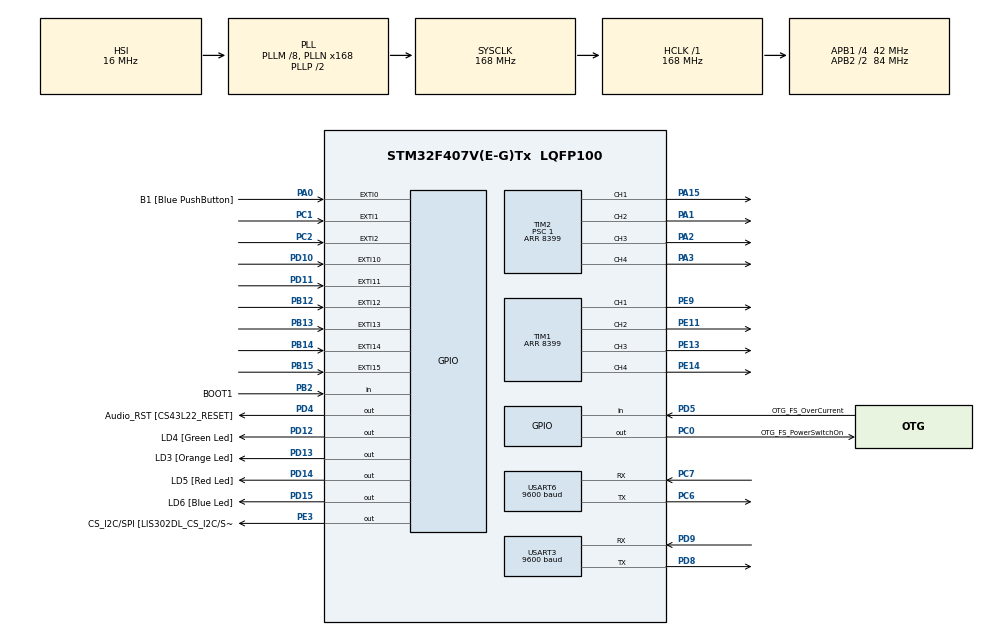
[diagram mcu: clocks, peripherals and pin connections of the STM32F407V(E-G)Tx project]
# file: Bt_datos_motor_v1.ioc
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Mcu.Family=STM32F4
Mcu.Name=STM32F407V(E-G)Tx
Mcu.Package=LQFP100
NVIC.EXTI0_IRQn=true\:0\:0\:false\:false\:true\:true\:true\:true
NVIC.EXTI15_10_IRQn=true\:0\:0\:false\:false\:true\:true\:true\:true
NVIC.EXTI1_IRQn=true\:0\:0\:false\:false\:true\:true\:true\:true
NVIC.EXTI2_IRQn=true\:0\:0\:false\:false\:true\:true\:true\:true
NVIC.PriorityGroup=NVIC_PRIORITYGROUP_0
NVIC.TIM3_IRQn=true\:0\:0\:false\:false\:true\:true\:true\:true
PA0-WKUP.GPIO_Label=B1 [Blue PushButton]
PA0-WKUP.Signal=GPXTI0
PA1.Signal=S_TIM2_CH2
PA10.GPIO_Label=OTG_FS_ID
PA10.GPIO_Mode=GPIO_MODE_AF_PP
PA10.GPIO_PuPd=GPIO_NOPULL
PA10.GPIO_Speed=GPIO_SPEED_FREQ_LOW
PA10.Signal=USB_OTG_FS_ID
PA11.GPIO_Label=OTG_FS_DM
PA11.GPIO_Mode=GPIO_MODE_AF_PP
PA11.GPIO_PuPd=GPIO_NOPULL
PA11.GPIO_Speed=GPIO_SPEED_FREQ_LOW
PA11.Signal=USB_OTG_FS_DM
PA12.GPIO_Label=OTG_FS_DP
PA12.GPIO_Mode=GPIO_MODE_AF_PP
PA12.GPIO_PuPd=GPIO_NOPULL
PA12.GPIO_Speed=GPIO_SPEED_FREQ_LOW
PA12.Signal=USB_OTG_FS_DP
PA13.GPIO_Label=SWDIO
PA13.Signal=SYS_JTMS-SWDIO
PA14.GPIO_Label=SWCLK
PA14.Signal=SYS_JTCK-SWCLK
PA15.Signal=S_TIM2_CH1_ETR
PA2.Signal=S_TIM2_CH3
PA3.Signal=S_TIM2_CH4
PA4.GPIO_Label=I2S3_WS [CS43L22_LRCK]
PA4.GPIO_Mode=GPIO_MODE_AF_PP
PA4.GPIO_PuPd=GPIO_NOPULL
PA4.GPIO_Speed=GPIO_SPEED_FREQ_LOW
PA4.Signal=I2S3_WS
PA5.GPIO_Label=SPI1_SCK [LIS302DL_SCL/SPC]
PA5.GPIO_Mode=GPIO_MODE_AF_PP
PA5.GPIO_PuPd=GPIO_NOPULL
PA5.GPIO_Speed=GPIO_SPEED_FREQ_LOW
PA5.Signal=SPI1_SCK
PA6.GPIO_Label=SPI1_MISO [LIS302DL_SDO]
PA6.GPIO_Mode=GPIO_MODE_AF_PP
PA6.GPIO_PuPd=GPIO_NOPULL
PA6.GPIO_Speed=GPIO_SPEED_FREQ_LOW
PA6.Signal=SPI1_MISO
PA7.GPIO_Label=SPI1_MOSI [LIS302DL_SDA/SDI/SDO]
PA7.GPIO_Mode=GPIO_MODE_AF_PP
PA7.GPIO_PuPd=GPIO_NOPULL
PA7.GPIO_Speed=GPIO_SPEED_FREQ_LOW
PA7.Signal=SPI1_MOSI
PA9.GPIO_Label=VBUS_FS
PA9.GPIO_Mode=GPIO_MODE_INPUT
PA9.GPIO_PuPd=GPIO_NOPULL
PA9.Signal=USB_OTG_FS_VBUS
PB10.GPIO_Label=CLK_IN [MP45DT02_CLK]
PB10.GPIO_Mode=GPIO_MODE_AF_PP
PB10.GPIO_PuPd=GPIO_NOPULL
PB10.GPIO_Speed=GPIO_SPEED_FREQ_LOW
PB10.Signal=I2S2_CK
PB12.Signal=GPXTI12
PB13.Signal=GPXTI13
PB14.Signal=GPXTI14
PB15.Signal=GPXTI15
PB2.GPIO_Label=BOOT1
PB2.GPIO_Mode=GPIO_MODE_INPUT
PB2.GPIO_PuPd=GPIO_NOPULL
PB2.Signal=GPIO_Input
PB3.GPIO_Label=SWO
PB3.Signal=SYS_JTDO-SWO
PB6.GPIO_Label=Audio_SCL [CS43L22_SCL]
PB6.GPIO_Mode=GPIO_MODE_AF_OD
PB6.GPIO_PuPd=GPIO_NOPULL
PB6.GPIO_Speed=GPIO_SPEED_FREQ_LOW
PB6.Signal=I2C1_SCL
PB9.GPIO_Label=Audio_SDA [CS43L22_SDA]
PB9.GPIO_Mode=GPIO_MODE_AF_OD
PB9.GPIO_PuPd=GPIO_NOPULL
PB9.GPIO_Speed=GPIO_SPEED_FREQ_LOW
PB9.Signal=I2C1_SDA
PC0.GPIO_Label=OTG_FS_PowerSwitchOn
PC0.GPIO_PuPd=GPIO_NOPULL
PC0.GPIO_Speed=GPIO_SPEED_FREQ_LOW
PC0.PinState=GPIO_PIN_SET
PC0.Signal=GPIO_Output
PC1.Signal=GPXTI1
PC10.GPIO_Label=I2S3_SCK [CS43L22_SCLK]
PC10.GPIO_Mode=GPIO_MODE_AF_PP
PC10.GPIO_PuPd=GPIO_NOPULL
PC10.GPIO_Speed=GPIO_SPEED_FREQ_LOW
PC10.Signal=I2S3_CK
PC12.GPIO_Label=I2S3_SD [CS43L22_SDIN]
PC12.GPIO_Mode=GPIO_MODE_AF_PP
PC12.GPIO_PuPd=GPIO_NOPULL
PC12.GPIO_Speed=GPIO_SPEED_FREQ_LOW
PC12.Signal=I2S3_SD
PC14-OSC32_IN.GPIO_Label=PC14-OSC32_IN
PC14-OSC32_IN.Signal=RCC_OSC32_IN
PC15-OSC32_OUT.GPIO_Label=PC15-OSC32_OUT
PC15-OSC32_OUT.Signal=RCC_OSC32_OUT
PC2.Signal=GPXTI2
PC3.GPIO_Label=PDM_OUT [MP45DT02_DOUT]
PC3.GPIO_Mode=GPIO_MODE_AF_PP
PC3.GPIO_PuPd=GPIO_NOPULL
PC3.GPIO_Speed=GPIO_SPEED_FREQ_LOW
PC3.Signal=I2S2_SD
PC6.Mode=Asynchronous
PC6.Signal=USART6_TX
PC7.Mode=Asynchronous
PC7.Signal=USART6_RX
PD10.Signal=GPXTI10
PD11.Signal=GPXTI11
PD12.GPIO_Label=LD4 [Green Led]
PD12.GPIO_PuPd=GPIO_NOPULL
PD12.GPIO_Speed=GPIO_SPEED_FREQ_LOW
PD12.Signal=GPIO_Output
PD13.GPIO_Label=LD3 [Orange Led]
PD13.GPIO_PuPd=GPIO_NOPULL
PD13.GPIO_Speed=GPIO_SPEED_FREQ_LOW
PD13.Signal=GPIO_Output
PD14.GPIO_Label=LD5 [Red Led]
PD14.GPIO_PuPd=GPIO_NOPULL
PD14.GPIO_Speed=GPIO_SPEED_FREQ_LOW
PD14.Signal=GPIO_Output
PD15.GPIO_Label=LD6 [Blue Led]
PD15.GPIO_PuPd=GPIO_NOPULL
PD15.GPIO_Speed=GPIO_SPEED_FREQ_LOW
PD15.Signal=GPIO_Output
PD4.GPIO_Label=Audio_RST [CS43L22_RESET]
PD4.GPIO_PuPd=GPIO_NOPULL
PD4.GPIO_Speed=GPIO_SPEED_FREQ_LOW
PD4.Signal=GPIO_Output
PD5.GPIO_Label=OTG_FS_OverCurrent
PD5.GPIO_Mode=GPIO_MODE_INPUT
PD5.GPIO_PuPd=GPIO_NOPULL
PD5.Signal=GPIO_Input
PD8.Mode=Asynchronous
PD8.Signal=USART3_TX
PD9.Mode=Asynchronous
PD9.Signal=USART3_RX
PE11.Signal=S_TIM1_CH2
PE13.Signal=S_TIM1_CH3
PE14.Signal=S_TIM1_CH4
PE3.GPIO_Label=CS_I2C/SPI [LIS302DL_CS_I2C/SPI]
PE3.GPIO_PuPd=GPIO_NOPULL
PE3.GPIO_Speed=GPIO_SPEED_FREQ_LOW
PE3.Signal=GPIO_Output
PE9.Signal=S_TIM1_CH1
PH0-OSC_IN.GPIO_Label=PH0-OSC_IN
PH0-OSC_IN.Mode=HSE-External-Oscillator
PH0-OSC_IN.Signal=RCC_OSC_IN
PH1-OSC_OUT.GPIO_Label=PH1-OSC_OUT
PH1-OSC_OUT.Mode=HSE-External-Oscillator
PH1-OSC_OUT.Signal=RCC_OSC_OUT
ProjectManager.HeapSize=0x200
ProjectManager.StackSize=0x400
ProjectManager.TargetToolchain=STM32CubeIDE
RCC.48MHZClocksFreq_Value=48000000
RCC.AHBFreq_Value=168000000
RCC.APB1CLKDivider=RCC_HCLK_DIV4
RCC.APB1Freq_Value=42000000
RCC.APB1TimFreq_Value=84000000
RCC.APB2CLKDivider=RCC_HCLK_DIV2
RCC.APB2Freq_Value=84000000
RCC.APB2TimFreq_Value=168000000
RCC.CortexFreq_Value=168000000
RCC.HCLKFreq_Value=168000000
RCC.HSE_VALUE=8000000
RCC.HSI_VALUE=16000000
RCC.LSE_VALUE=32768
RCC.PLLM=8
RCC.PLLN=168
RCC.PLLQ=7
RCC.SYSCLKFreq_VALUE=168000000
RCC.SYSCLKSource=RCC_SYSCLKSOURCE_PLLCLK
RCC.VCOOutputFreq_Value=336000000
SH.S_TIM1_CH1.0=TIM1_CH1,PWM Generation1 CH1
SH.S_TIM1_CH2.0=TIM1_CH2,PWM Generation2 CH2
SH.S_TIM1_CH3.0=TIM1_CH3,PWM Generation3 CH3
SH.S_TIM1_CH4.0=TIM1_CH4,PWM Generation4 CH4
SH.S_TIM2_CH1_ETR.0=TIM2_CH1,PWM Generation1 CH1
SH.S_TIM2_CH2.0=TIM2_CH2,PWM Generation2 CH2
SH.S_TIM2_CH3.0=TIM2_CH3,PWM Generation3 CH3
SH.S_TIM2_CH4.0=TIM2_CH4,PWM Generation4 CH4
TIM1.AutoReloadPreload=TIM_AUTORELOAD_PRELOAD_ENABLE
TIM1.Channel-PWM\ Generation1\ CH1=TIM_CHANNEL_1
TIM1.Channel-PWM\ Generation2\ CH2=TIM_CHANNEL_2
TIM1.Channel-PWM\ Generation3\ CH3=TIM_CHANNEL_3
TIM1.Channel-PWM\ Generation4\ CH4=TIM_CHANNEL_4
TIM1.Period=8399
TIM2.Channel-PWM\ Generation1\ CH1=TIM_CHANNEL_1
TIM2.Channel-PWM\ Generation2\ CH2=TIM_CHANNEL_2
TIM2.Channel-PWM\ Generation3\ CH3=TIM_CHANNEL_3
TIM2.Channel-PWM\ Generation4\ CH4=TIM_CHANNEL_4
TIM2.Period=8399
TIM2.Prescaler=1
TIM3.AutoReloadPreload=TIM_AUTORELOAD_PRELOAD_ENABLE
TIM3.Period=9999
TIM3.Prescaler=41
USART3.BaudRate=9600
USART3.VirtualMode=VM_ASYNC
USART6.BaudRate=9600
USART6.VirtualMode=VM_ASYNC
VP_TIM1_VS_ClockSourceINT.Mode=Internal
VP_TIM3_VS_ClockSourceINT.Mode=Internal
board=STM32F407G-DISC1

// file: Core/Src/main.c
/* USER CODE BEGIN Header */
/**
  ******************************************************************************
  * @file           : main.c
  * @brief          : Main program body
  ******************************************************************************
  * @attention
  *
  * Copyright (c) 2025 STMicroelectronics.
  * All rights reserved.
  *
  * This software is licensed under terms that can be found in the LICENSE file
  * in the root directory of this software component.
  * If no LICENSE file comes with this software, it is provided AS-IS.
  *
  ******************************************************************************
  */
/* USER CODE END Header */
#include "main.h"

/* USER CODE BEGIN Includes */
#include <string.h>
#include <stdio.h>
void movimiento(char str, int speed);
/* USER CODE END Includes */

/* USER CODE BEGIN PTD */
#define ENCODER_PPR 2000 // Pulsos por revolución del encoder
#define TIMER_INTERVAL  10 // Intervalo del cálculo de velocidad (ms)
/* USER CODE END PTD */

TIM_HandleTypeDef htim1;
TIM_HandleTypeDef htim2;
TIM_HandleTypeDef htim3;

UART_HandleTypeDef huart3;
UART_HandleTypeDef huart6;

/* USER CODE BEGIN PV */
volatile int32_t encoder_count_m1 = 0, encoder_count_m2 = 0, encoder_count_m3 = 0, encoder_count_m4 = 0;
volatile int8_t motor_direction_m1 = 0, motor_direction_m2 = 0, motor_direction_m3 = 0, motor_direction_m4 = 0;
volatile int32_t pulses_in_interval_m1 = 0, pulses_in_interval_m2 = 0, pulses_in_interval_m3 = 0, pulses_in_interval_m4 = 0;
volatile int32_t motor_speed_rpm_m1 = 0, motor_speed_rpm_m2 = 0, motor_speed_rpm_m3 = 0, motor_speed_rpm_m4 = 0;
/* USER CODE END PV */

void SystemClock_Config(void);
static void MX_GPIO_Init(void);
static void MX_TIM1_Init(void);
static void MX_TIM2_Init(void);
static void MX_TIM3_Init(void);
static void MX_USART3_UART_Init(void);
static void MX_USART6_UART_Init(void);

/* USER CODE BEGIN 0 */

/* ISR para las señales del encoder de los 4 motores */
void HAL_GPIO_EXTI_Callback(uint16_t GPIO_Pin) {
    if (GPIO_Pin == GPIO_PIN_12 || GPIO_Pin == GPIO_PIN_13) {  // Motor 1
        if (HAL_GPIO_ReadPin(GPIOB, GPIO_PIN_12) == HAL_GPIO_ReadPin(GPIOB, GPIO_PIN_13)) {
            encoder_count_m1++;
            pulses_in_interval_m1++;
            motor_direction_m1 = 1;
        } else {
            encoder_count_m1--;
            pulses_in_interval_m1++;
            motor_direction_m1 = -1;
        }
    } else if (GPIO_Pin == GPIO_PIN_14 || GPIO_Pin == GPIO_PIN_15) {  // Motor 2
        if (HAL_GPIO_ReadPin(GPIOB, GPIO_PIN_14) == HAL_GPIO_ReadPin(GPIOB, GPIO_PIN_15)) {
            encoder_count_m2++;
            pulses_in_interval_m2++;
            motor_direction_m2 = 1;
        } else {
            encoder_count_m2--;
            pulses_in_interval_m2++;
            motor_direction_m2 = -1;
        }
    } else if (GPIO_Pin == GPIO_PIN_10 || GPIO_Pin == GPIO_PIN_11) {  // Motor 3
        if (HAL_GPIO_ReadPin(GPIOD, GPIO_PIN_10) == HAL_GPIO_ReadPin(GPIOD, GPIO_PIN_11)) {
            encoder_count_m3++;
            pulses_in_interval_m3++;
            motor_direction_m3 = 1;
        } else {
            encoder_count_m3--;
            pulses_in_interval_m3++;
            motor_direction_m3 = -1;
        }
    } else if (GPIO_Pin == GPIO_PIN_2 || GPIO_Pin == GPIO_PIN_1) {  // Motor 4
        if (HAL_GPIO_ReadPin(GPIOC, GPIO_PIN_1) == HAL_GPIO_ReadPin(GPIOC, GPIO_PIN_2)) {
            encoder_count_m4++;
            pulses_in_interval_m4++;
            motor_direction_m4 = 1;
        } else {
            encoder_count_m4--;
            pulses_in_interval_m4++;
            motor_direction_m4 = -1;
        }
    }
}

/* Temporizador para calcular la velocidad de los 4 motores */
void HAL_TIM_PeriodElapsedCallback(TIM_HandleTypeDef *htim) {
    if (htim->Instance == TIM3) {
        motor_speed_rpm_m1 = (pulses_in_interval_m1 * 60 * 1000) / (ENCODER_PPR * TIMER_INTERVAL);
        motor_speed_rpm_m2 = (pulses_in_interval_m2 * 60 * 1000) / (ENCODER_PPR * TIMER_INTERVAL);
        motor_speed_rpm_m3 = (pulses_in_interval_m3 * 60 * 1000) / (ENCODER_PPR * TIMER_INTERVAL);
        motor_speed_rpm_m4 = (pulses_in_interval_m4 * 60 * 1000) / (ENCODER_PPR * TIMER_INTERVAL);

        if (pulses_in_interval_m1 == 0) motor_speed_rpm_m1 = 0, motor_direction_m1 = 0;
        if (pulses_in_interval_m2 == 0) motor_speed_rpm_m2 = 0, motor_direction_m2 = 0;
        if (pulses_in_interval_m3 == 0) motor_speed_rpm_m3 = 0, motor_direction_m3 = 0;
        if (pulses_in_interval_m4 == 0) motor_speed_rpm_m4 = 0, motor_direction_m4 = 0;

        pulses_in_interval_m1 = pulses_in_interval_m2 = pulses_in_interval_m3 = pulses_in_interval_m4 = 0;
    }
}

/* USER CODE END 0 */

int main(void)
{

  /* MCU Configuration--------------------------------------------------------*/

  /* Reset of all peripherals, Initializes the Flash interface and the Systick. */
  HAL_Init();

  /* Configure the system clock */
  SystemClock_Config();

  /* Initialize all configured peripherals */
  MX_GPIO_Init();
  MX_TIM1_Init();
  MX_TIM2_Init();
  MX_TIM3_Init();
  MX_USART3_UART_Init();
  MX_USART6_UART_Init();
  /* USER CODE BEGIN 2 */

  HAL_TIM_Base_Start_IT(&htim3);
  __HAL_RCC_GPIOD_CLK_ENABLE();
  char buffer[200];

  HAL_TIM_PWM_Start_IT(&htim1, TIM_CHANNEL_1);
  __HAL_TIM_SetCompare(&htim1, TIM_CHANNEL_1, 0);

  HAL_TIM_PWM_Start_IT(&htim1, TIM_CHANNEL_2);
  __HAL_TIM_SetCompare(&htim1, TIM_CHANNEL_2, 0);

  HAL_TIM_PWM_Start_IT(&htim1, TIM_CHANNEL_3);
  __HAL_TIM_SetCompare(&htim1, TIM_CHANNEL_3, 0);

  HAL_TIM_PWM_Start_IT(&htim1, TIM_CHANNEL_4);
  __HAL_TIM_SetCompare(&htim1, TIM_CHANNEL_4, 0);

  HAL_TIM_PWM_Start_IT(&htim2, TIM_CHANNEL_1);
  __HAL_TIM_SetCompare(&htim2, TIM_CHANNEL_1, 0);

  HAL_TIM_PWM_Start_IT(&htim2, TIM_CHANNEL_2);
  __HAL_TIM_SetCompare(&htim2, TIM_CHANNEL_2, 0);

  HAL_TIM_PWM_Start_IT(&htim2, TIM_CHANNEL_3);
  __HAL_TIM_SetCompare(&htim2, TIM_CHANNEL_3, 0);

  HAL_TIM_PWM_Start_IT(&htim2, TIM_CHANNEL_4);
  __HAL_TIM_SetCompare(&htim2, TIM_CHANNEL_4, 0);

  /* USER CODE END 2 */

  /* Infinite loop */
  /* USER CODE BEGIN WHILE */
  while (1)
  {
      char rxData;

      // Recibir datos por UART6, si los hay
      if (HAL_UART_Receive(&huart6, &rxData, 1, 100) == HAL_OK) {
          movimiento(rxData, 2520);
      }

      // Mostrar solo la velocidad del motor por consola
      char buffer[20];
      snprintf(buffer, sizeof(buffer), "%ld\n", motor_speed_rpm_m4);
      HAL_UART_Transmit(&huart3, (uint8_t *)buffer, strlen(buffer), 50);

      HAL_Delay(10); // Ajusta el retraso según la frecuencia deseada de actualización

    /* USER CODE END WHILE */

  }
}

void SystemClock_Config(void)
{
  RCC_OscInitTypeDef RCC_OscInitStruct = {0};
  RCC_ClkInitTypeDef RCC_ClkInitStruct = {0};

  /** Configure the main internal regulator output voltage
  */
  __HAL_RCC_PWR_CLK_ENABLE();
  __HAL_PWR_VOLTAGESCALING_CONFIG(PWR_REGULATOR_VOLTAGE_SCALE1);

  /** Initializes the RCC Oscillators according to the specified parameters
  * in the RCC_OscInitTypeDef structure.
  */
  RCC_OscInitStruct.OscillatorType = RCC_OSCILLATORTYPE_HSI;
  RCC_OscInitStruct.HSIState = RCC_HSI_ON;
  RCC_OscInitStruct.HSICalibrationValue = RCC_HSICALIBRATION_DEFAULT;
  RCC_OscInitStruct.PLL.PLLState = RCC_PLL_ON;
  RCC_OscInitStruct.PLL.PLLSource = RCC_PLLSOURCE_HSI;
  RCC_OscInitStruct.PLL.PLLM = 8;
  RCC_OscInitStruct.PLL.PLLN = 168;
  RCC_OscInitStruct.PLL.PLLP = RCC_PLLP_DIV2;
  RCC_OscInitStruct.PLL.PLLQ = 7;
  if (HAL_RCC_OscConfig(&RCC_OscInitStruct) != HAL_OK)
  {
    Error_Handler();
  }

  /** Initializes the CPU, AHB and APB buses clocks
  */
  RCC_ClkInitStruct.ClockType = RCC_CLOCKTYPE_HCLK|RCC_CLOCKTYPE_SYSCLK
                              |RCC_CLOCKTYPE_PCLK1|RCC_CLOCKTYPE_PCLK2;
  RCC_ClkInitStruct.SYSCLKSource = RCC_SYSCLKSOURCE_PLLCLK;
  RCC_ClkInitStruct.AHBCLKDivider = RCC_SYSCLK_DIV1;
  RCC_ClkInitStruct.APB1CLKDivider = RCC_HCLK_DIV4;
  RCC_ClkInitStruct.APB2CLKDivider = RCC_HCLK_DIV2;

  if (HAL_RCC_ClockConfig(&RCC_ClkInitStruct, FLASH_LATENCY_5) != HAL_OK)
  {
    Error_Handler();
  }
}

static void MX_TIM1_Init(void)
{

  TIM_ClockConfigTypeDef sClockSourceConfig = {0};
  TIM_MasterConfigTypeDef sMasterConfig = {0};
  TIM_OC_InitTypeDef sConfigOC = {0};
  TIM_BreakDeadTimeConfigTypeDef sBreakDeadTimeConfig = {0};

  htim1.Instance = TIM1;
  htim1.Init.Prescaler = 0;
  htim1.Init.CounterMode = TIM_COUNTERMODE_UP;
  htim1.Init.Period = 8399;
  htim1.Init.ClockDivision = TIM_CLOCKDIVISION_DIV1;
  htim1.Init.RepetitionCounter = 0;
  htim1.Init.AutoReloadPreload = TIM_AUTORELOAD_PRELOAD_ENABLE;
  if (HAL_TIM_Base_Init(&htim1) != HAL_OK)
  {
    Error_Handler();
  }
  sClockSourceConfig.ClockSource = TIM_CLOCKSOURCE_INTERNAL;
  if (HAL_TIM_ConfigClockSource(&htim1, &sClockSourceConfig) != HAL_OK)
  {
    Error_Handler();
  }
  if (HAL_TIM_PWM_Init(&htim1) != HAL_OK)
  {
    Error_Handler();
  }
  sMasterConfig.MasterOutputTrigger = TIM_TRGO_RESET;
  sMasterConfig.MasterSlaveMode = TIM_MASTERSLAVEMODE_DISABLE;
  if (HAL_TIMEx_MasterConfigSynchronization(&htim1, &sMasterConfig) != HAL_OK)
  {
    Error_Handler();
  }
  sConfigOC.OCMode = TIM_OCMODE_PWM1;
  sConfigOC.Pulse = 0;
  sConfigOC.OCPolarity = TIM_OCPOLARITY_HIGH;
  sConfigOC.OCNPolarity = TIM_OCNPOLARITY_HIGH;
  sConfigOC.OCFastMode = TIM_OCFAST_DISABLE;
  sConfigOC.OCIdleState = TIM_OCIDLESTATE_RESET;
  sConfigOC.OCNIdleState = TIM_OCNIDLESTATE_RESET;
  if (HAL_TIM_PWM_ConfigChannel(&htim1, &sConfigOC, TIM_CHANNEL_1) != HAL_OK)
  {
    Error_Handler();
  }
  if (HAL_TIM_PWM_ConfigChannel(&htim1, &sConfigOC, TIM_CHANNEL_2) != HAL_OK)
  {
    Error_Handler();
  }
  if (HAL_TIM_PWM_ConfigChannel(&htim1, &sConfigOC, TIM_CHANNEL_3) != HAL_OK)
  {
    Error_Handler();
  }
  if (HAL_TIM_PWM_ConfigChannel(&htim1, &sConfigOC, TIM_CHANNEL_4) != HAL_OK)
  {
    Error_Handler();
  }
  sBreakDeadTimeConfig.OffStateRunMode = TIM_OSSR_DISABLE;
  sBreakDeadTimeConfig.OffStateIDLEMode = TIM_OSSI_DISABLE;
  sBreakDeadTimeConfig.LockLevel = TIM_LOCKLEVEL_OFF;
  sBreakDeadTimeConfig.DeadTime = 0;
  sBreakDeadTimeConfig.BreakState = TIM_BREAK_DISABLE;
  sBreakDeadTimeConfig.BreakPolarity = TIM_BREAKPOLARITY_HIGH;
  sBreakDeadTimeConfig.AutomaticOutput = TIM_AUTOMATICOUTPUT_DISABLE;
  if (HAL_TIMEx_ConfigBreakDeadTime(&htim1, &sBreakDeadTimeConfig) != HAL_OK)
  {
    Error_Handler();
  }
  HAL_TIM_MspPostInit(&htim1);

}

static void MX_TIM2_Init(void)
{

  TIM_MasterConfigTypeDef sMasterConfig = {0};
  TIM_OC_InitTypeDef sConfigOC = {0};

  htim2.Instance = TIM2;
  htim2.Init.Prescaler = 1;
  htim2.Init.CounterMode = TIM_COUNTERMODE_UP;
  htim2.Init.Period = 8399;
  htim2.Init.ClockDivision = TIM_CLOCKDIVISION_DIV1;
  htim2.Init.AutoReloadPreload = TIM_AUTORELOAD_PRELOAD_DISABLE;
  if (HAL_TIM_PWM_Init(&htim2) != HAL_OK)
  {
    Error_Handler();
  }
  sMasterConfig.MasterOutputTrigger = TIM_TRGO_RESET;
  sMasterConfig.MasterSlaveMode = TIM_MASTERSLAVEMODE_DISABLE;
  if (HAL_TIMEx_MasterConfigSynchronization(&htim2, &sMasterConfig) != HAL_OK)
  {
    Error_Handler();
  }
  sConfigOC.OCMode = TIM_OCMODE_PWM1;
  sConfigOC.Pulse = 0;
  sConfigOC.OCPolarity = TIM_OCPOLARITY_HIGH;
  sConfigOC.OCFastMode = TIM_OCFAST_DISABLE;
  if (HAL_TIM_PWM_ConfigChannel(&htim2, &sConfigOC, TIM_CHANNEL_1) != HAL_OK)
  {
    Error_Handler();
  }
  if (HAL_TIM_PWM_ConfigChannel(&htim2, &sConfigOC, TIM_CHANNEL_2) != HAL_OK)
  {
    Error_Handler();
  }
  if (HAL_TIM_PWM_ConfigChannel(&htim2, &sConfigOC, TIM_CHANNEL_3) != HAL_OK)
  {
    Error_Handler();
  }
  if (HAL_TIM_PWM_ConfigChannel(&htim2, &sConfigOC, TIM_CHANNEL_4) != HAL_OK)
  {
    Error_Handler();
  }
  HAL_TIM_MspPostInit(&htim2);

}

static void MX_TIM3_Init(void)
{

  TIM_ClockConfigTypeDef sClockSourceConfig = {0};
  TIM_MasterConfigTypeDef sMasterConfig = {0};

  htim3.Instance = TIM3;
  htim3.Init.Prescaler = 41;
  htim3.Init.CounterMode = TIM_COUNTERMODE_UP;
  htim3.Init.Period = 9999;
  htim3.Init.ClockDivision = TIM_CLOCKDIVISION_DIV1;
  htim3.Init.AutoReloadPreload = TIM_AUTORELOAD_PRELOAD_ENABLE;
  if (HAL_TIM_Base_Init(&htim3) != HAL_OK)
  {
    Error_Handler();
  }
  sClockSourceConfig.ClockSource = TIM_CLOCKSOURCE_INTERNAL;
  if (HAL_TIM_ConfigClockSource(&htim3, &sClockSourceConfig) != HAL_OK)
  {
    Error_Handler();
  }
  sMasterConfig.MasterOutputTrigger = TIM_TRGO_RESET;
  sMasterConfig.MasterSlaveMode = TIM_MASTERSLAVEMODE_DISABLE;
  if (HAL_TIMEx_MasterConfigSynchronization(&htim3, &sMasterConfig) != HAL_OK)
  {
    Error_Handler();
  }

}

static void MX_USART3_UART_Init(void)
{

  huart3.Instance = USART3;
  huart3.Init.BaudRate = 9600;
  huart3.Init.WordLength = UART_WORDLENGTH_8B;
  huart3.Init.StopBits = UART_STOPBITS_1;
  huart3.Init.Parity = UART_PARITY_NONE;
  huart3.Init.Mode = UART_MODE_TX_RX;
  huart3.Init.HwFlowCtl = UART_HWCONTROL_NONE;
  huart3.Init.OverSampling = UART_OVERSAMPLING_16;
  if (HAL_UART_Init(&huart3) != HAL_OK)
  {
    Error_Handler();
  }

}

static void MX_USART6_UART_Init(void)
{

  huart6.Instance = USART6;
  huart6.Init.BaudRate = 9600;
  huart6.Init.WordLength = UART_WORDLENGTH_8B;
  huart6.Init.StopBits = UART_STOPBITS_1;
  huart6.Init.Parity = UART_PARITY_NONE;
  huart6.Init.Mode = UART_MODE_TX_RX;
  huart6.Init.HwFlowCtl = UART_HWCONTROL_NONE;
  huart6.Init.OverSampling = UART_OVERSAMPLING_16;
  if (HAL_UART_Init(&huart6) != HAL_OK)
  {
    Error_Handler();
  }

}

static void MX_GPIO_Init(void)
{
  GPIO_InitTypeDef GPIO_InitStruct = {0};

  /* GPIO Ports Clock Enable */
  __HAL_RCC_GPIOE_CLK_ENABLE();
  __HAL_RCC_GPIOC_CLK_ENABLE();
  __HAL_RCC_GPIOH_CLK_ENABLE();
  __HAL_RCC_GPIOA_CLK_ENABLE();
  __HAL_RCC_GPIOB_CLK_ENABLE();
  __HAL_RCC_GPIOD_CLK_ENABLE();

  /*Configure GPIO pin Output Level */
  HAL_GPIO_WritePin(CS_I2C_SPI_GPIO_Port, CS_I2C_SPI_Pin, GPIO_PIN_RESET);

  /*Configure GPIO pin Output Level */
  HAL_GPIO_WritePin(OTG_FS_PowerSwitchOn_GPIO_Port, OTG_FS_PowerSwitchOn_Pin, GPIO_PIN_SET);

  /*Configure GPIO pin Output Level */
  HAL_GPIO_WritePin(GPIOD, LD4_Pin|LD3_Pin|LD5_Pin|LD6_Pin
                          |Audio_RST_Pin, GPIO_PIN_RESET);

  /*Configure GPIO pin : CS_I2C_SPI_Pin */
  GPIO_InitStruct.Pin = CS_I2C_SPI_Pin;
  GPIO_InitStruct.Mode = GPIO_MODE_OUTPUT_PP;
  GPIO_InitStruct.Pull = GPIO_NOPULL;
  GPIO_InitStruct.Speed = GPIO_SPEED_FREQ_LOW;
  HAL_GPIO_Init(CS_I2C_SPI_GPIO_Port, &GPIO_InitStruct);

  /*Configure GPIO pin : OTG_FS_PowerSwitchOn_Pin */
  GPIO_InitStruct.Pin = OTG_FS_PowerSwitchOn_Pin;
  GPIO_InitStruct.Mode = GPIO_MODE_OUTPUT_PP;
  GPIO_InitStruct.Pull = GPIO_NOPULL;
  GPIO_InitStruct.Speed = GPIO_SPEED_FREQ_LOW;
  HAL_GPIO_Init(OTG_FS_PowerSwitchOn_GPIO_Port, &GPIO_InitStruct);

  /*Configure GPIO pins : PC1 PC2 */
  GPIO_InitStruct.Pin = GPIO_PIN_1|GPIO_PIN_2;
  GPIO_InitStruct.Mode = GPIO_MODE_IT_RISING;
  GPIO_InitStruct.Pull = GPIO_NOPULL;
  HAL_GPIO_Init(GPIOC, &GPIO_InitStruct);

  /*Configure GPIO pin : PDM_OUT_Pin */
  GPIO_InitStruct.Pin = PDM_OUT_Pin;
  GPIO_InitStruct.Mode = GPIO_MODE_AF_PP;
  GPIO_InitStruct.Pull = GPIO_NOPULL;
  GPIO_InitStruct.Speed = GPIO_SPEED_FREQ_LOW;
  GPIO_InitStruct.Alternate = GPIO_AF5_SPI2;
  HAL_GPIO_Init(PDM_OUT_GPIO_Port, &GPIO_InitStruct);

  /*Configure GPIO pin : B1_Pin */
  GPIO_InitStruct.Pin = B1_Pin;
  GPIO_InitStruct.Mode = GPIO_MODE_IT_RISING;
  GPIO_InitStruct.Pull = GPIO_NOPULL;
  HAL_GPIO_Init(B1_GPIO_Port, &GPIO_InitStruct);

  /*Configure GPIO pin : I2S3_WS_Pin */
  GPIO_InitStruct.Pin = I2S3_WS_Pin;
  GPIO_InitStruct.Mode = GPIO_MODE_AF_PP;
  GPIO_InitStruct.Pull = GPIO_NOPULL;
  GPIO_InitStruct.Speed = GPIO_SPEED_FREQ_LOW;
  GPIO_InitStruct.Alternate = GPIO_AF6_SPI3;
  HAL_GPIO_Init(I2S3_WS_GPIO_Port, &GPIO_InitStruct);

  /*Configure GPIO pins : SPI1_SCK_Pin SPI1_MISO_Pin SPI1_MOSI_Pin */
  GPIO_InitStruct.Pin = SPI1_SCK_Pin|SPI1_MISO_Pin|SPI1_MOSI_Pin;
  GPIO_InitStruct.Mode = GPIO_MODE_AF_PP;
  GPIO_InitStruct.Pull = GPIO_NOPULL;
  GPIO_InitStruct.Speed = GPIO_SPEED_FREQ_LOW;
  GPIO_InitStruct.Alternate = GPIO_AF5_SPI1;
  HAL_GPIO_Init(GPIOA, &GPIO_InitStruct);

  /*Configure GPIO pin : BOOT1_Pin */
  GPIO_InitStruct.Pin = BOOT1_Pin;
  GPIO_InitStruct.Mode = GPIO_MODE_INPUT;
  GPIO_InitStruct.Pull = GPIO_NOPULL;
  HAL_GPIO_Init(BOOT1_GPIO_Port, &GPIO_InitStruct);

  /*Configure GPIO pin : CLK_IN_Pin */
  GPIO_InitStruct.Pin = CLK_IN_Pin;
  GPIO_InitStruct.Mode = GPIO_MODE_AF_PP;
  GPIO_InitStruct.Pull = GPIO_NOPULL;
  GPIO_InitStruct.Speed = GPIO_SPEED_FREQ_LOW;
  GPIO_InitStruct.Alternate = GPIO_AF5_SPI2;
  HAL_GPIO_Init(CLK_IN_GPIO_Port, &GPIO_InitStruct);

  /*Configure GPIO pins : PB12 PB13 PB14 PB15 */
  GPIO_InitStruct.Pin = GPIO_PIN_12|GPIO_PIN_13|GPIO_PIN_14|GPIO_PIN_15;
  GPIO_InitStruct.Mode = GPIO_MODE_IT_RISING;
  GPIO_InitStruct.Pull = GPIO_NOPULL;
  HAL_GPIO_Init(GPIOB, &GPIO_InitStruct);

  /*Configure GPIO pins : PD10 PD11 */
  GPIO_InitStruct.Pin = GPIO_PIN_10|GPIO_PIN_11;
  GPIO_InitStruct.Mode = GPIO_MODE_IT_RISING;
  GPIO_InitStruct.Pull = GPIO_NOPULL;
  HAL_GPIO_Init(GPIOD, &GPIO_InitStruct);

  /*Configure GPIO pins : LD4_Pin LD3_Pin LD5_Pin LD6_Pin
                           Audio_RST_Pin */
  GPIO_InitStruct.Pin = LD4_Pin|LD3_Pin|LD5_Pin|LD6_Pin
                          |Audio_RST_Pin;
  GPIO_InitStruct.Mode = GPIO_MODE_OUTPUT_PP;
  GPIO_InitStruct.Pull = GPIO_NOPULL;
  GPIO_InitStruct.Speed = GPIO_SPEED_FREQ_LOW;
  HAL_GPIO_Init(GPIOD, &GPIO_InitStruct);

  /*Configure GPIO pin : VBUS_FS_Pin */
  GPIO_InitStruct.Pin = VBUS_FS_Pin;
  GPIO_InitStruct.Mode = GPIO_MODE_INPUT;
  GPIO_InitStruct.Pull = GPIO_NOPULL;
  HAL_GPIO_Init(VBUS_FS_GPIO_Port, &GPIO_InitStruct);

  /*Configure GPIO pins : OTG_FS_ID_Pin OTG_FS_DM_Pin OTG_FS_DP_Pin */
  GPIO_InitStruct.Pin = OTG_FS_ID_Pin|OTG_FS_DM_Pin|OTG_FS_DP_Pin;
  GPIO_InitStruct.Mode = GPIO_MODE_AF_PP;
  GPIO_InitStruct.Pull = GPIO_NOPULL;
  GPIO_InitStruct.Speed = GPIO_SPEED_FREQ_LOW;
  GPIO_InitStruct.Alternate = GPIO_AF10_OTG_FS;
  HAL_GPIO_Init(GPIOA, &GPIO_InitStruct);

  /*Configure GPIO pins : I2S3_SCK_Pin I2S3_SD_Pin */
  GPIO_InitStruct.Pin = I2S3_SCK_Pin|I2S3_SD_Pin;
  GPIO_InitStruct.Mode = GPIO_MODE_AF_PP;
  GPIO_InitStruct.Pull = GPIO_NOPULL;
  GPIO_InitStruct.Speed = GPIO_SPEED_FREQ_LOW;
  GPIO_InitStruct.Alternate = GPIO_AF6_SPI3;
  HAL_GPIO_Init(GPIOC, &GPIO_InitStruct);

  /*Configure GPIO pin : OTG_FS_OverCurrent_Pin */
  GPIO_InitStruct.Pin = OTG_FS_OverCurrent_Pin;
  GPIO_InitStruct.Mode = GPIO_MODE_INPUT;
  GPIO_InitStruct.Pull = GPIO_NOPULL;
  HAL_GPIO_Init(OTG_FS_OverCurrent_GPIO_Port, &GPIO_InitStruct);

  /*Configure GPIO pins : Audio_SCL_Pin Audio_SDA_Pin */
  GPIO_InitStruct.Pin = Audio_SCL_Pin|Audio_SDA_Pin;
  GPIO_InitStruct.Mode = GPIO_MODE_AF_OD;
  GPIO_InitStruct.Pull = GPIO_NOPULL;
  GPIO_InitStruct.Speed = GPIO_SPEED_FREQ_LOW;
  GPIO_InitStruct.Alternate = GPIO_AF4_I2C1;
  HAL_GPIO_Init(GPIOB, &GPIO_InitStruct);

  /* EXTI interrupt init*/
  HAL_NVIC_SetPriority(EXTI0_IRQn, 0, 0);
  HAL_NVIC_EnableIRQ(EXTI0_IRQn);

  HAL_NVIC_SetPriority(EXTI1_IRQn, 0, 0);
  HAL_NVIC_EnableIRQ(EXTI1_IRQn);

  HAL_NVIC_SetPriority(EXTI2_IRQn, 0, 0);
  HAL_NVIC_EnableIRQ(EXTI2_IRQn);

  HAL_NVIC_SetPriority(EXTI15_10_IRQn, 0, 0);
  HAL_NVIC_EnableIRQ(EXTI15_10_IRQn);

}

/* USER CODE BEGIN 4 */
void movimiento(char str, int speed) {
	// Motor 1
	 __HAL_TIM_SetCompare(&htim1, TIM_CHANNEL_1, 0);
	 __HAL_TIM_SetCompare(&htim1, TIM_CHANNEL_2, 0);

	 // Motor 2
	 __HAL_TIM_SetCompare(&htim1, TIM_CHANNEL_3, 0);
	 __HAL_TIM_SetCompare(&htim1, TIM_CHANNEL_4, 0);

	 // Motor 3
	 __HAL_TIM_SetCompare(&htim2, TIM_CHANNEL_1, 0);
	 __HAL_TIM_SetCompare(&htim2, TIM_CHANNEL_2, 0);

	 // Motor 4
	 __HAL_TIM_SetCompare(&htim2, TIM_CHANNEL_3, 0);
	 __HAL_TIM_SetCompare(&htim2, TIM_CHANNEL_4, 0);

	 HAL_Delay(1000);

		// Stop
		if (str  == 'e' )
		{
			return;
		}

	// Adelante
	if (str == 'b' )
	{
		// Motor 1
		 __HAL_TIM_SetCompare(&htim1, TIM_CHANNEL_1, speed);
		 __HAL_TIM_SetCompare(&htim1, TIM_CHANNEL_2, 0);

		 // Motor 2
		 __HAL_TIM_SetCompare(&htim1, TIM_CHANNEL_3, speed);
		 __HAL_TIM_SetCompare(&htim1, TIM_CHANNEL_4, 0);

		 // Motor 3
		 __HAL_TIM_SetCompare(&htim2, TIM_CHANNEL_1, speed);
		 __HAL_TIM_SetCompare(&htim2, TIM_CHANNEL_2, 0);

		 // Motor 4
		 __HAL_TIM_SetCompare(&htim2, TIM_CHANNEL_3, speed);
		 __HAL_TIM_SetCompare(&htim2, TIM_CHANNEL_4, 0);
	}

	// Atras
	if (str == 'h' )
	{
		// Motor 1
		 __HAL_TIM_SetCompare(&htim1, TIM_CHANNEL_1, 0);
		 __HAL_TIM_SetCompare(&htim1, TIM_CHANNEL_2, speed);

		 // Motor 2
		 __HAL_TIM_SetCompare(&htim1, TIM_CHANNEL_3, 0);
		 __HAL_TIM_SetCompare(&htim1, TIM_CHANNEL_4, speed);

		 // Motor 3
		 __HAL_TIM_SetCompare(&htim2, TIM_CHANNEL_1, 0);
		 __HAL_TIM_SetCompare(&htim2, TIM_CHANNEL_2, speed);

		 // Motor 4
		 __HAL_TIM_SetCompare(&htim2, TIM_CHANNEL_3, 0);
		 __HAL_TIM_SetCompare(&htim2, TIM_CHANNEL_4, speed);

	}

	// Rotación en sentido horario
	if (str == 'j' )
	{
		// Motor 1
		 __HAL_TIM_SetCompare(&htim1, TIM_CHANNEL_1, speed);
		 __HAL_TIM_SetCompare(&htim1, TIM_CHANNEL_2, 0);

		 // Motor 2
		 __HAL_TIM_SetCompare(&htim1, TIM_CHANNEL_3, 0);
		 __HAL_TIM_SetCompare(&htim1, TIM_CHANNEL_4, speed);

		 // Motor 3
		 __HAL_TIM_SetCompare(&htim2, TIM_CHANNEL_1, speed);
		 __HAL_TIM_SetCompare(&htim2, TIM_CHANNEL_2, 0);

		 // Motor 4
		 __HAL_TIM_SetCompare(&htim2, TIM_CHANNEL_3, 0);
		 __HAL_TIM_SetCompare(&htim2, TIM_CHANNEL_4, speed);
	}

	// Rotación en sentido antihorario
	if (str == 'k' )
	{
		// Motor 1
		 __HAL_TIM_SetCompare(&htim1, TIM_CHANNEL_1, 0);
		 __HAL_TIM_SetCompare(&htim1, TIM_CHANNEL_2, speed);

		 // Motor 2
		 __HAL_TIM_SetCompare(&htim1, TIM_CHANNEL_3, speed);
		 __HAL_TIM_SetCompare(&htim1, TIM_CHANNEL_4, 0);

		 // Motor 3
		 __HAL_TIM_SetCompare(&htim2, TIM_CHANNEL_1, 0);
		 __HAL_TIM_SetCompare(&htim2, TIM_CHANNEL_2, speed);

		 // Motor 4
		 __HAL_TIM_SetCompare(&htim2, TIM_CHANNEL_3, speed);
		 __HAL_TIM_SetCompare(&htim2, TIM_CHANNEL_4, 0);
	}

	// Adelante 45° derecha
	if (str == 'c' )
	{
		// Motor 1
		__HAL_TIM_SetCompare(&htim1, TIM_CHANNEL_1, speed);
		__HAL_TIM_SetCompare(&htim1, TIM_CHANNEL_2, 0);

		// Motor 2
		__HAL_TIM_SetCompare(&htim1, TIM_CHANNEL_3, 0);
		__HAL_TIM_SetCompare(&htim1, TIM_CHANNEL_4, 0);

		 // Motor 3
		__HAL_TIM_SetCompare(&htim2, TIM_CHANNEL_1, 0);
		__HAL_TIM_SetCompare(&htim2, TIM_CHANNEL_2, 0);

		// Motor 4
		__HAL_TIM_SetCompare(&htim2, TIM_CHANNEL_3, speed);
		__HAL_TIM_SetCompare(&htim2, TIM_CHANNEL_4, 0);
	}

	// Adelante 45° izquierda
	if (str == 'a' )
	{
		// Motor 1
		__HAL_TIM_SetCompare(&htim1, TIM_CHANNEL_1, 0);
		__HAL_TIM_SetCompare(&htim1, TIM_CHANNEL_2, 0);

		// Motor 2
		__HAL_TIM_SetCompare(&htim1, TIM_CHANNEL_3, speed);
		__HAL_TIM_SetCompare(&htim1, TIM_CHANNEL_4, 0);

		 // Motor 3
		__HAL_TIM_SetCompare(&htim2, TIM_CHANNEL_1, speed);
		__HAL_TIM_SetCompare(&htim2, TIM_CHANNEL_2, 0);

		// Motor 4
		__HAL_TIM_SetCompare(&htim2, TIM_CHANNEL_3, 0);
		__HAL_TIM_SetCompare(&htim2, TIM_CHANNEL_4, 0);
	}

	// Atrás 45° izquierda
	if (str == 'g' )
	{
		// Motor 1
		__HAL_TIM_SetCompare(&htim1, TIM_CHANNEL_1, 0);
		__HAL_TIM_SetCompare(&htim1, TIM_CHANNEL_2, speed);

		// Motor 2
		__HAL_TIM_SetCompare(&htim1, TIM_CHANNEL_3, 0);
		__HAL_TIM_SetCompare(&htim1, TIM_CHANNEL_4, 0);

		 // Motor 3
		__HAL_TIM_SetCompare(&htim2, TIM_CHANNEL_1, 0);
		__HAL_TIM_SetCompare(&htim2, TIM_CHANNEL_2, 0);

		// Motor 4
		__HAL_TIM_SetCompare(&htim2, TIM_CHANNEL_3, 0);
		__HAL_TIM_SetCompare(&htim2, TIM_CHANNEL_4, speed);
	}
	// Atrás 45° derecha
	if (str == 'i' )
	{
		// Motor 1
		__HAL_TIM_SetCompare(&htim1, TIM_CHANNEL_1, 0);
		__HAL_TIM_SetCompare(&htim1, TIM_CHANNEL_2, 0);

		// Motor 2
		__HAL_TIM_SetCompare(&htim1, TIM_CHANNEL_3, 0);
		__HAL_TIM_SetCompare(&htim1, TIM_CHANNEL_4, speed);

		 // Motor 3
		__HAL_TIM_SetCompare(&htim2, TIM_CHANNEL_1, 0);
		__HAL_TIM_SetCompare(&htim2, TIM_CHANNEL_2, speed);

		// Motor 4
		__HAL_TIM_SetCompare(&htim2, TIM_CHANNEL_3, 0);
		__HAL_TIM_SetCompare(&htim2, TIM_CHANNEL_4, 0);
	}

	// Derecha
	if (str == 'f' )
	{
		// Motor 1
		__HAL_TIM_SetCompare(&htim1, TIM_CHANNEL_1, speed);
		__HAL_TIM_SetCompare(&htim1, TIM_CHANNEL_2, 0);

		// Motor 2
		__HAL_TIM_SetCompare(&htim1, TIM_CHANNEL_3, 0);
		__HAL_TIM_SetCompare(&htim1, TIM_CHANNEL_4, speed);

		 // Motor 3
		__HAL_TIM_SetCompare(&htim2, TIM_CHANNEL_1, 0);
		__HAL_TIM_SetCompare(&htim2, TIM_CHANNEL_2, speed);

		// Motor 4
		__HAL_TIM_SetCompare(&htim2, TIM_CHANNEL_3, speed);
		__HAL_TIM_SetCompare(&htim2, TIM_CHANNEL_4, 0);
	}
	// Izquierda
	if (str == 'd' )
	{
		// Motor 1
		__HAL_TIM_SetCompare(&htim1, TIM_CHANNEL_1, 0);
		__HAL_TIM_SetCompare(&htim1, TIM_CHANNEL_2, speed);

		// Motor 2
		__HAL_TIM_SetCompare(&htim1, TIM_CHANNEL_3, speed);
		__HAL_TIM_SetCompare(&htim1, TIM_CHANNEL_4, 0);

		 // Motor 3
		__HAL_TIM_SetCompare(&htim2, TIM_CHANNEL_1, speed);
		__HAL_TIM_SetCompare(&htim2, TIM_CHANNEL_2, 0);

		// Motor 4
		__HAL_TIM_SetCompare(&htim2, TIM_CHANNEL_3, 0);
		__HAL_TIM_SetCompare(&htim2, TIM_CHANNEL_4, speed);
	}
}
/* USER CODE END 4 */

void Error_Handler(void)
{
  __disable_irq();
  while (1)
  {
  }
}
